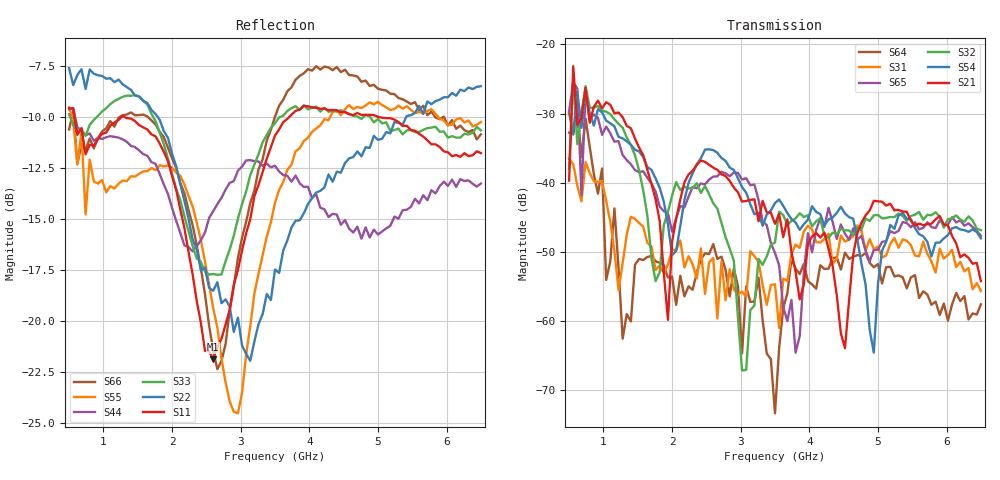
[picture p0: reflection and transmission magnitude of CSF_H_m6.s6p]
!Keysight Technologies,M9804A,MY58100912,A.14.10.03
!Date: Thursday, April 27, 2023 10:28:33
!Correction: S11(C  6-Port  )
!S12(C  6-Port  )
!S13(C  6-Port  )
!S14(C  6-Port  )
!S15(C  6-Port  )
!S16(C  6-Port  )
!S21(C  6-Port  )
!S22(C  6-Port  )
!S23(C  6-Port  )
!S24(C  6-Port  )
!S25(C  6-Port  )
!S26(C  6-Port  )
!S31(C  6-Port  )
!S32(C  6-Port  )
!S33(C  6-Port  )
!S34(C  6-Port  )
!S35(C  6-Port  )
!S36(C  6-Port  )
!S41(C  6-Port  )
!S42(C  6-Port  )
!S43(C  6-Port  )
!S44(C  6-Port  )
!S45(C  6-Port  )
!S46(C  6-Port  )
!S51(C  6-Port  )
!S52(C  6-Port  )
!S53(C  6-Port  )
!S54(C  6-Port  )
!S55(C  6-Port  )
!S56(C  6-Port  )
!S61(C  6-Port  )
!S62(C  6-Port  )
!S63(C  6-Port  )
!S64(C  6-Port  )
!S65(C  6-Port  )
!S66(C  6-Port  )
!S6P File: Measurement: :
# Hz S  RI  R 50
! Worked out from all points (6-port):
!   101 points, 500 MHz to 6.5 GHz, reference 50 ohm
!   strongest paths, dB at 500 MHz, 2 GHz, 3.5 GHz, 5 GHz, 6.5 GHz:
!     S21: -39.7, -48.5, -45.9, -42.7, -54.2
!     S54: -32.8, -50.5, -42.9, -54.7, -48.0
!     S32: -38.0, -41.9, -48.6, -44.6, -46.8
!     S65: -29.7, -47.1, -50.1, -49.7, -47.7
!     S31: -36.5, -49.7, -54.7, -49.2, -55.6
!     S64: -29.9, -53.6, -73.3, -51.8, -57.6
!   lowest |S11| = -21.9 dB at 2.6 GHz (marker M1), VSWR 1.18, Z = 42.8 + j1.97 ohm
!   |S11| at or under -10 dB: 578.9 MHz to 1.266 GHz (687 MHz wide, 74.5 % of centre); 1.306 GHz to 3.71 GHz (2.404 GHz wide, 95.9 % of centre); 5.008 GHz to end of sweep
